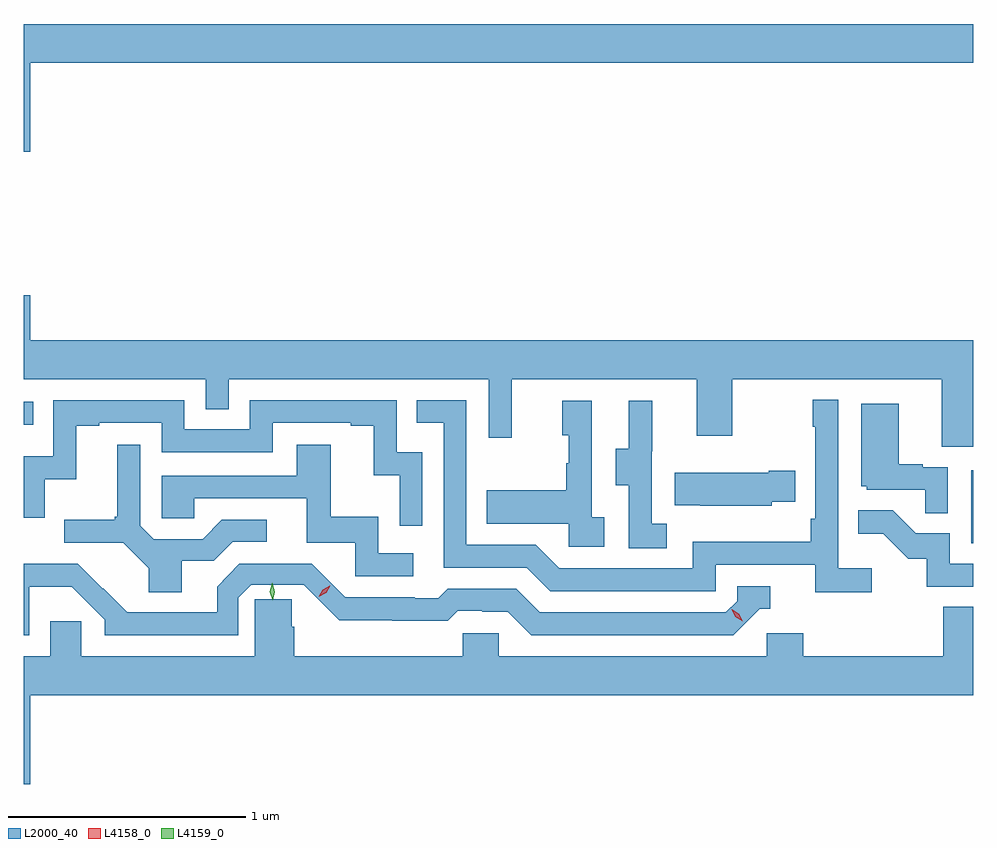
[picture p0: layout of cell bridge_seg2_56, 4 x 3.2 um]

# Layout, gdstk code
import gdstk
lib = gdstk.Library(unit=1e-6, precision=1e-09)
def R(c, l, rs):  # rectangles x0, y0, x1, y1
    for r in rs: c.add(gdstk.rectangle(r[:2], r[2:], *l))
def P(c, l, *ps):  # polygons
    for p in ps: c.add(gdstk.Polygon(p, *l))
L2000_40 = (2000, 40)
L4158_0 = (4158, 0)
L4159_0 = (4159, 0)

bridge_seg2_56 = lib.new_cell('bridge_seg2_56')
R(bridge_seg2_56, L2000_40, [(1140.164,608.316,1140.173,608.623), (1136.173,608.816,1136.213,608.913)])
P(bridge_seg2_56, L2000_40, [(1136.2,610.34),(1140.173,610.34),(1140.173,610.504),(1136.173,610.504),(1136.173,609.966),(1136.2,609.966)],
  [(1140.173,609.172),(1136.2,609.172),(1136.2,609.361),(1136.173,609.361),(1136.173,609.008),(1136.94,609.008),(1136.94,608.881),(1137.036,608.881),(1137.036,609.008),(1138.131,609.008),(1138.131,608.76),(1138.229,608.76),(1138.229,609.008),(1139.009,609.008),(1139.009,608.769),(1139.157,608.769),(1139.157,609.008),(1140.041,609.008),(1140.041,608.722),(1140.173,608.722)],
  [(1139.746,608.212),(1139.604,608.212),(1139.604,608.92),(1139.496,608.92),(1139.496,608.807),(1139.508,608.807),(1139.508,608.419),(1139.488,608.419),(1139.488,608.323),(1138.992,608.323),(1138.992,608.211),(1138.428,608.211),(1138.329,608.31),(1138.038,608.31),(1138.038,608.919),(1137.829,608.919),(1137.829,608.823),(1137.942,608.823),(1137.942,608.214),(1138.292,608.214),(1138.391,608.115),(1139.088,608.115),(1139.088,608.226),(1139.507,608.226),(1139.507,608.11),(1139.746,608.11)],
  [(1137.852,608.7),(1137.744,608.7),(1137.744,608.919),(1137.126,608.919),(1137.126,608.796),(1136.85,608.796),(1136.85,608.919),(1136.298,608.919),(1136.298,608.683),(1136.173,608.683),(1136.173,608.424),(1136.262,608.424),(1136.262,608.585),(1136.395,608.585),(1136.395,608.811),(1136.491,608.811),(1136.491,608.823),(1136.754,608.823),(1136.754,608.7),(1137.222,608.7),(1137.222,608.823),(1137.551,608.823),(1137.551,608.811),(1137.647,608.811),(1137.647,608.603),(1137.756,608.603),(1137.756,608.391),(1137.852,608.391)],
  [(1138.618,608.426),(1138.566,608.426),(1138.566,608.917),(1138.442,608.917),(1138.442,608.772),(1138.468,608.772),(1138.468,608.654),(1138.458,608.654),(1138.458,608.539),(1138.123,608.539),(1138.123,608.399),(1138.47,608.399),(1138.47,608.301),(1138.618,608.301)],
  [(1138.882,608.399),(1138.818,608.399),(1138.818,608.703),(1138.82,608.703),(1138.82,608.917),(1138.721,608.917),(1138.721,608.715),(1138.667,608.715),(1138.667,608.56),(1138.722,608.56),(1138.722,608.296),(1138.882,608.296)],
  [(1140.066,608.637),(1139.96,608.637),(1139.96,608.65),(1139.86,608.65),(1139.86,608.905),(1139.702,608.905),(1139.702,608.556),(1139.724,608.556),(1139.724,608.541),(1139.971,608.541),(1139.971,608.443),(1140.066,608.443)],
  [(1137.814,608.274),(1137.666,608.274),(1137.666,608.428),(1137.467,608.428),(1137.467,608.731),(1137.323,608.731),(1137.323,608.601),(1136.754,608.601),(1136.754,608.421),(1136.891,608.421),(1136.891,608.505),(1137.365,608.505),(1137.365,608.319),(1137.57,608.319),(1137.57,608.178),(1137.814,608.178)],
  [(1136.839,608.242),(1136.974,608.242),(1137.054,608.322),(1137.196,608.322),(1137.196,608.415),(1137.008,608.415),(1136.927,608.334),(1136.721,608.334),(1136.664,608.391),(1136.664,608.731),(1136.567,608.731),(1136.567,608.428),(1136.556,608.428),(1136.556,608.416),(1136.343,608.416),(1136.343,608.319),(1136.592,608.319),(1136.699,608.212),(1136.699,608.11),(1136.839,608.11)],
  [(1139.325,608.492),(1139.423,608.492),(1139.423,608.622),(1139.312,608.622),(1139.312,608.614),(1138.915,608.614),(1138.915,608.477),(1139.023,608.477),(1139.023,608.474),(1139.325,608.474)],
  [(1140.173,608.229),(1140.075,608.229),(1140.075,608.358),(1139.931,608.358),(1139.833,608.456),(1139.689,608.456),(1139.689,608.357),(1139.793,608.357),(1139.9,608.25),(1139.977,608.25),(1139.977,608.133),(1140.173,608.133)],
  [(1136.197,608.132),(1136.376,608.132),(1136.514,607.994),(1136.514,607.929),(1137.077,607.929),(1137.077,608.086),(1137.131,608.141),(1137.353,608.141),(1137.502,607.991),(1137.726,607.991),(1137.726,607.989),(1137.959,607.989),(1138.001,608.031),(1138.104,608.031),(1138.104,608.028),(1138.211,608.028),(1138.31,607.929),(1139.163,607.929),(1139.274,608.04),(1139.317,608.04),(1139.317,608.136),(1139.178,608.136),(1139.178,608.073),(1139.13,608.025),(1138.347,608.025),(1138.248,608.124),(1137.959,608.124),(1137.92,608.085),(1137.821,608.085),(1137.821,608.088),(1137.528,608.088),(1137.387,608.229),(1137.081,608.229),(1136.987,608.134),(1136.987,608.025),(1136.608,608.025),(1136.507,608.126),(1136.506,608.125),(1136.401,608.229),(1136.283,608.229),(1136.283,608.231),(1136.173,608.231),(1136.173,607.929),(1136.197,607.929)],
  [(1136.2,607.676),(1140.173,607.676),(1140.173,608.048),(1140.047,608.048),(1140.047,607.84),(1139.456,607.84),(1139.456,607.938),(1139.304,607.938),(1139.304,607.84),(1138.173,607.84),(1138.173,607.938),(1138.023,607.938),(1138.023,607.84),(1137.313,607.84),(1137.313,607.964),(1137.302,607.964),(1137.302,608.08),(1137.146,608.08),(1137.146,607.84),(1136.415,607.84),(1136.415,607.988),(1136.285,607.988),(1136.285,607.84),(1136.173,607.84),(1136.173,607.302),(1136.2,607.302)])
P(bridge_seg2_56, L4158_0, [(1137.416,608.091),(1137.416,608.091),(1137.433,608.121),(1137.463,608.138),(1137.464,608.138),(1137.464,608.138),(1137.447,608.107),(1137.416,608.091)],
  [(1139.202,607.988),(1139.171,608.007),(1139.155,608.039),(1139.155,608.039),(1139.155,608.039),(1139.186,608.02),(1139.202,607.988),(1139.202,607.988)])
P(bridge_seg2_56, L4159_0, [(1137.221,608.076),(1137.221,608.076),(1137.21,608.113),(1137.219,608.15),(1137.219,608.15),(1137.219,608.15),(1137.23,608.113),(1137.222,608.076)])

lib.write_gds('bridge_seg2_56.gds')
